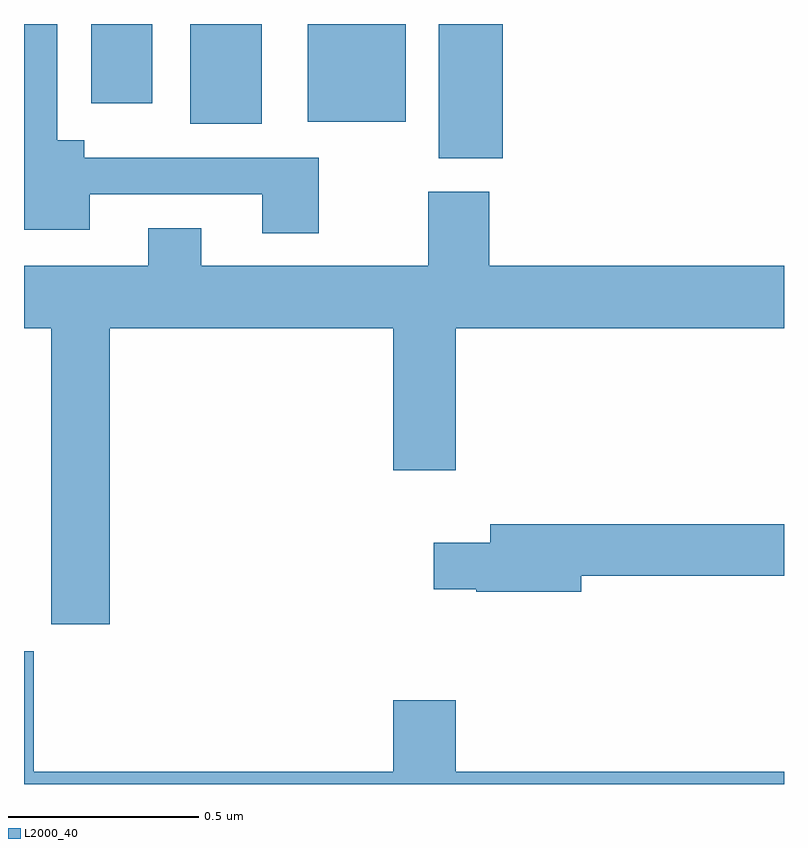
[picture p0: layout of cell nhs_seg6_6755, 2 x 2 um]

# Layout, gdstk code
import gdstk
lib = gdstk.Library(unit=1e-6, precision=1e-09)
def R(c, l, rs):  # rectangles x0, y0, x1, y1
    for r in rs: c.add(gdstk.rectangle(r[:2], r[2:], *l))
def P(c, l, *ps):  # polygons
    for p in ps: c.add(gdstk.Polygon(p, *l))
L2000_40 = (2000, 40)

nhs_seg6_6755 = lib.new_cell('nhs_seg6_6755')
R(nhs_seg6_6755, L2000_40, [(201.092,917.147,201.26,917.5), (200.438,917.237,200.626,917.5), (200.747,917.243,201.004,917.5), (200.177,917.292,200.338,917.5)])
P(nhs_seg6_6755, L2000_40, [(200.775,917.148),(200.158,917.148),(200.158,917.194),(200.088,917.194),(200.088,917.5),(200,917.5),(200,916.958),(200.173,916.958),(200.173,917.052),(200.627,917.052),(200.627,916.95),(200.775,916.95)],
  [(200.225,916.7),(200.972,916.7),(200.972,916.326),(201.136,916.326),(201.136,916.7),(202,916.7),(202,916.864),(201.224,916.864),(201.224,917.059),(201.064,917.059),(201.064,916.864),(200.467,916.864),(200.467,916.963),(200.327,916.963),(200.327,916.864),(200,916.864),(200,916.7),(200.072,916.7),(200.072,915.921),(200.225,915.921)],
  [(201.466,916.048),(202,916.048),(202,916.184),(201.227,916.184),(201.227,916.135),(201.078,916.135),(201.078,916.013),(201.19,916.013),(201.19,916.006),(201.466,916.006)],
  [(202,915.532),(201.136,915.532),(201.136,915.721),(200.972,915.721),(200.972,915.532),(200.026,915.532),(200.026,915.849),(200,915.849),(200,915.5),(202,915.5)])

lib.write_gds('nhs_seg6_6755.gds')
